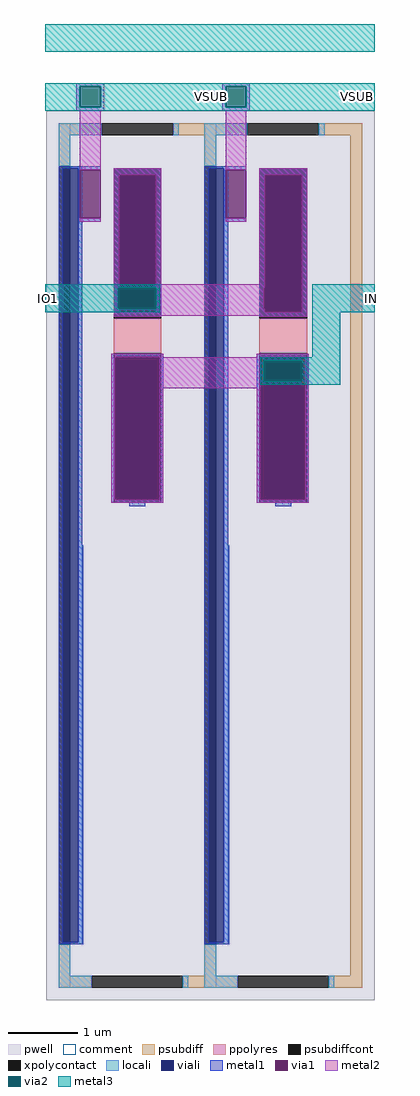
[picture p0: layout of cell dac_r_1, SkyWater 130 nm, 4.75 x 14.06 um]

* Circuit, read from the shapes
.subckt dac_r_1 VSUB IN IO1
XR1 IO1 IN VSUB sky130_fd_pr__res_high_po w=0.69 l=0.5 m=2
.ends

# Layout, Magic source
magic
tech sky130A
magscale 1 2
<< pwell >>
rect 1063 558 2009 3120
<< psubdiff >>
rect 1099 3050 1223 3084
rect 1429 3050 1643 3084
rect 1849 3050 1973 3084
rect 1099 2960 1133 3050
rect 1519 2960 1553 3050
rect 1099 628 1133 718
rect 1519 628 1553 718
rect 1939 628 1973 3050
rect 1099 594 1195 628
rect 1457 594 1615 628
rect 1877 594 1973 628
<< psubdiffcont >>
rect 1223 3050 1429 3084
rect 1643 3050 1849 3084
rect 1099 718 1133 2960
rect 1519 718 1553 2960
rect 1195 594 1457 628
rect 1615 594 1877 628
<< xpolycontact >>
rect 1257 2522 1395 2954
rect 1257 1990 1395 2422
rect 1677 2522 1815 2954
rect 1677 1990 1815 2422
<< ppolyres >>
rect 1257 2422 1395 2522
rect 1677 2422 1815 2522
<< locali >>
rect 1099 3050 1223 3084
rect 1429 3050 1445 3084
rect 1519 3050 1643 3084
rect 1849 3050 1865 3084
rect 1099 2960 1133 3050
rect 1519 2960 1553 3050
rect 1133 2954 1167 2960
rect 1553 2954 1587 2960
rect 1155 724 1167 2954
rect 1133 718 1167 724
rect 1575 724 1587 2954
rect 1553 718 1587 724
rect 1099 628 1133 718
rect 1519 628 1553 718
rect 1099 594 1195 628
rect 1457 594 1473 628
rect 1519 594 1615 628
rect 1877 594 1893 628
<< viali >>
rect 1111 724 1133 2954
rect 1133 724 1155 2954
rect 1273 2539 1379 2936
rect 1273 2008 1379 2405
rect 1531 724 1553 2954
rect 1553 724 1575 2954
rect 1693 2539 1799 2936
rect 1693 2008 1799 2405
<< metal1 >>
rect 1099 2954 1220 2960
rect 1519 2954 1640 2960
rect 1099 724 1111 2954
rect 1155 2950 1220 2954
rect 1155 2810 1160 2950
rect 1155 2800 1220 2810
rect 1257 2936 1395 2954
rect 1155 1868 1167 2800
rect 1257 2539 1273 2936
rect 1379 2539 1395 2936
rect 1257 2527 1395 2539
rect 1250 2410 1400 2420
rect 1250 2000 1260 2410
rect 1390 2000 1400 2410
rect 1250 1990 1400 2000
rect 1303 1980 1349 1990
rect 1155 724 1170 1868
rect 1099 718 1170 724
rect 1519 724 1531 2954
rect 1575 2950 1640 2954
rect 1575 2810 1580 2950
rect 1575 2800 1640 2810
rect 1677 2936 1815 2954
rect 1575 1868 1587 2800
rect 1677 2610 1693 2936
rect 1677 2550 1690 2610
rect 1677 2539 1693 2550
rect 1799 2610 1815 2936
rect 1800 2550 1815 2610
rect 1799 2539 1815 2550
rect 1677 2527 1815 2539
rect 1670 2410 1820 2420
rect 1670 2000 1680 2410
rect 1810 2000 1820 2410
rect 1670 1990 1820 2000
rect 1723 1980 1769 1990
rect 1575 724 1590 1868
rect 1519 718 1590 724
<< via1 >>
rect 1160 2810 1220 2950
rect 1273 2539 1379 2936
rect 1260 2405 1390 2410
rect 1260 2008 1273 2405
rect 1273 2008 1379 2405
rect 1379 2008 1390 2405
rect 1260 2000 1390 2008
rect 1580 2810 1640 2950
rect 1690 2550 1693 2610
rect 1693 2539 1799 2936
rect 1799 2550 1800 2610
rect 1680 2405 1810 2410
rect 1680 2008 1693 2405
rect 1693 2008 1799 2405
rect 1799 2008 1810 2405
rect 1680 2000 1810 2008
<< metal2 >>
rect 1150 3190 1230 3200
rect 1150 3130 1160 3190
rect 1220 3130 1230 3190
rect 1150 3120 1230 3130
rect 1570 3190 1650 3200
rect 1570 3130 1580 3190
rect 1640 3130 1650 3190
rect 1570 3120 1650 3130
rect 1160 2950 1220 3120
rect 1160 2800 1220 2810
rect 1257 2936 1395 2954
rect 1257 2610 1273 2936
rect 1379 2620 1395 2936
rect 1580 2950 1640 3120
rect 1580 2800 1640 2810
rect 1677 2936 1815 2954
rect 1677 2620 1693 2936
rect 1379 2610 1693 2620
rect 1799 2610 1815 2936
rect 1257 2550 1270 2610
rect 1380 2550 1690 2610
rect 1800 2550 1815 2610
rect 1257 2539 1273 2550
rect 1379 2539 1693 2550
rect 1799 2539 1815 2550
rect 1257 2530 1815 2539
rect 1257 2527 1395 2530
rect 1677 2527 1815 2530
rect 1250 2410 1400 2420
rect 1670 2410 1820 2420
rect 1250 2000 1260 2410
rect 1390 2320 1680 2410
rect 1390 2000 1400 2320
rect 1250 1990 1400 2000
rect 1670 2000 1680 2320
rect 1810 2000 1820 2410
rect 1670 1990 1820 2000
<< via2 >>
rect 1160 3130 1220 3190
rect 1580 3130 1640 3190
rect 1270 2550 1273 2610
rect 1273 2550 1379 2610
rect 1379 2550 1380 2610
rect 1690 2340 1800 2400
<< metal3 >>
rect 1060 3290 2010 3370
rect 1060 3190 2010 3200
rect 1060 3130 1160 3190
rect 1220 3130 1580 3190
rect 1640 3130 2010 3190
rect 1060 3120 2010 3130
rect 1060 2610 1390 2620
rect 1060 2550 1270 2610
rect 1380 2550 1390 2610
rect 1060 2540 1390 2550
rect 1830 2540 2010 2620
rect 1830 2410 1910 2540
rect 1680 2400 1910 2410
rect 1680 2340 1690 2400
rect 1800 2340 1910 2400
rect 1680 2330 1910 2340
<< comment >>
rect 1099 2960 1133 3084
rect 1519 2960 1553 3084
rect 1099 594 1133 718
rect 1519 594 1553 718
<< labels >>
rlabel metal3 1520 3120 1560 3200 1 VSUB
port 4 n
rlabel metal3 1940 3120 1980 3200 1 VSUB
port 4 n
rlabel metal3 1990 2540 2010 2620 1 IN
port 5 n
rlabel metal3 1060 2540 1080 2620 1 IO1
port 6 n
<< end >>
